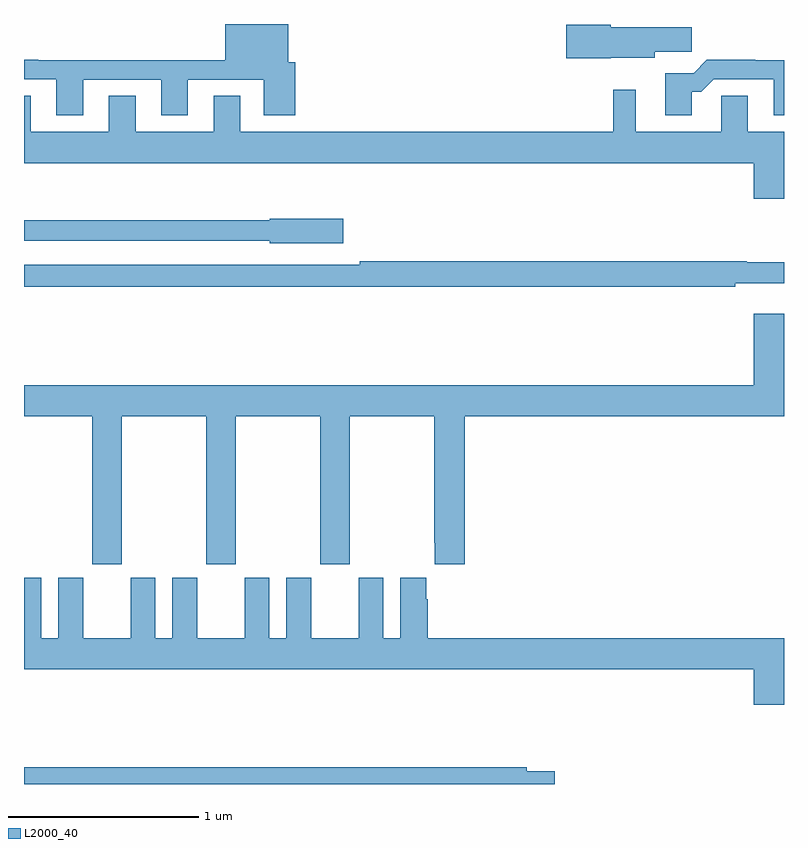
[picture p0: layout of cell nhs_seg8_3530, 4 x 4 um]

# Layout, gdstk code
import gdstk
lib = gdstk.Library(unit=1e-6, precision=1e-09)
def P(c, l, *ps):  # polygons
    for p in ps: c.add(gdstk.Polygon(p, *l))
L2000_40 = (2000, 40)

nhs_seg8_3530 = lib.new_cell('nhs_seg8_3530')
P(nhs_seg8_3530, L2000_40, [(329.311,1115.607),(329.723,1115.607),(329.723,1115.421),(329.863,1115.421),(329.863,1115.607),(330.263,1115.607),(330.263,1115.421),(330.428,1115.421),(330.428,1115.7),(330.391,1115.7),(330.391,1115.9),(330.059,1115.9),(330.059,1115.708),(329.075,1115.708),(329.075,1115.711),(329,1115.711),(329,1115.61),(329.171,1115.61),(329.171,1115.421),(329.311,1115.421)],
  [(332.088,1115.723),(332.32,1115.723),(332.32,1115.755),(332.515,1115.755),(332.515,1115.884),(332.088,1115.884),(332.088,1115.897),(331.854,1115.897),(331.854,1115.719),(332.088,1115.719)],
  [(332.515,1115.543),(332.564,1115.543),(332.631,1115.61),(332.945,1115.61),(332.945,1115.421),(333,1115.421),(333,1115.708),(332.849,1115.708),(332.849,1115.711),(332.594,1115.711),(332.524,1115.641),(332.375,1115.641),(332.375,1115.421),(332.515,1115.421)],
  [(333,1115.332),(332.809,1115.332),(332.809,1115.522),(332.67,1115.522),(332.67,1115.332),(332.221,1115.332),(332.221,1115.554),(332.1,1115.554),(332.1,1115.332),(330.139,1115.332),(330.139,1115.522),(329.999,1115.522),(329.999,1115.332),(329.587,1115.332),(329.587,1115.522),(329.447,1115.522),(329.447,1115.332),(329.035,1115.332),(329.035,1115.522),(329,1115.522),(329,1115.168),(332.84,1115.168),(332.84,1114.98),(333,1114.98)],
  [(330.679,1114.875),(330.294,1114.875),(330.294,1114.867),(329,1114.867),(329,1114.758),(330.294,1114.758),(330.294,1114.745),(330.679,1114.745)],
  [(332.744,1114.535),(333,1114.535),(333,1114.645),(332.803,1114.645),(332.803,1114.652),(330.766,1114.652),(330.766,1114.632),(329,1114.632),(329,1114.516),(332.744,1114.516)],
  [(329.514,1113.836),(329.959,1113.836),(329.959,1113.057),(330.114,1113.057),(330.114,1113.836),(330.559,1113.836),(330.559,1113.057),(330.714,1113.057),(330.714,1113.836),(331.159,1113.836),(331.159,1113.169),(331.163,1113.169),(331.163,1113.057),(331.319,1113.057),(331.319,1113.836),(333,1113.836),(333,1114.375),(332.84,1114.375),(332.84,1114),(329,1114),(329,1113.836),(329.359,1113.836),(329.359,1113.057),(329.514,1113.057)],
  [(333,1112.668),(331.124,1112.668),(331.124,1112.873),(331.117,1112.873),(331.117,1112.986),(330.98,1112.986),(330.98,1112.668),(330.892,1112.668),(330.892,1112.986),(330.761,1112.986),(330.761,1112.668),(330.511,1112.668),(330.511,1112.986),(330.38,1112.986),(330.38,1112.668),(330.292,1112.668),(330.292,1112.986),(330.161,1112.986),(330.161,1112.668),(329.911,1112.668),(329.911,1112.986),(329.78,1112.986),(329.78,1112.668),(329.692,1112.668),(329.692,1112.986),(329.561,1112.986),(329.561,1112.668),(329.311,1112.668),(329.311,1112.986),(329.18,1112.986),(329.18,1112.668),(329.092,1112.668),(329.092,1112.986),(329,1112.986),(329,1112.504),(332.84,1112.504),(332.84,1112.316),(333,1112.316)],
  [(331.793,1111.968),(331.646,1111.968),(331.646,1111.988),(329,1111.988),(329,1111.9),(331.793,1111.9)])

lib.write_gds('nhs_seg8_3530.gds')
